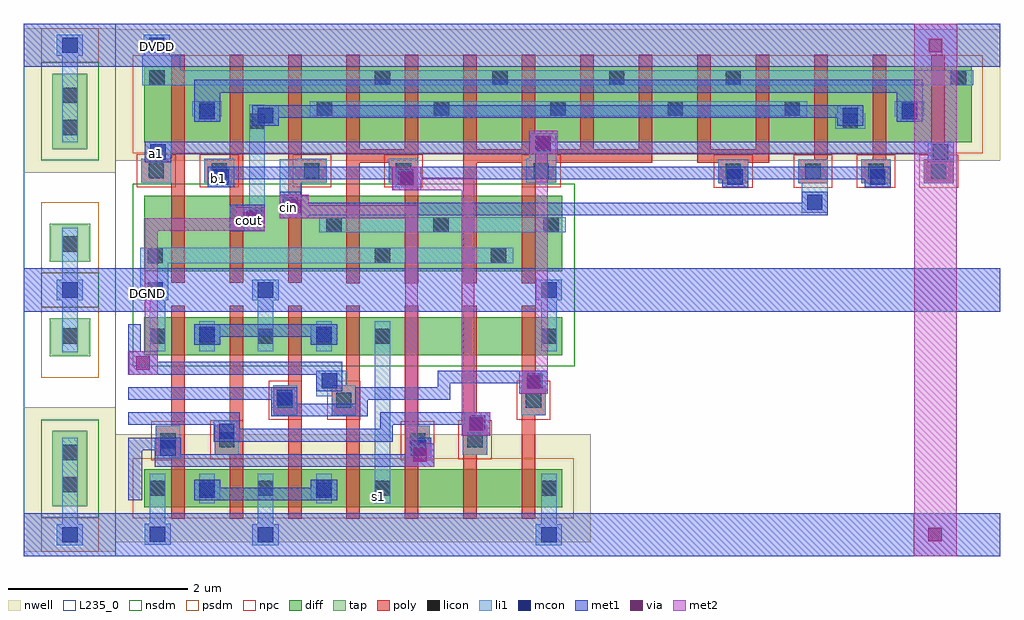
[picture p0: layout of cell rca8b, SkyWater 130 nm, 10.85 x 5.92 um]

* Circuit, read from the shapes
.subckt rca8b DGND DVDD a1 b1 cin cout s1
XM1 n1 cin DGND DGND sky130_fd_pr__nfet_01v8 w=0.42 l=0.15
XM2 n2 a1 DGND DGND sky130_fd_pr__nfet_01v8 w=0.84 l=0.15
XM3 DGND b1 n1 DGND sky130_fd_pr__nfet_01v8 w=0.42 l=0.15
XM4 cout b1 n2 DGND sky130_fd_pr__nfet_01v8 w=0.84 l=0.15
XM5 n1 a1 DGND DGND sky130_fd_pr__nfet_01v8 w=0.42 l=0.15
XM6 n3 cin cout DGND sky130_fd_pr__nfet_01v8 w=0.84 l=0.15
XM7 s1 cout n1 DGND sky130_fd_pr__nfet_01v8 w=0.42 l=0.15
XM8 DGND b1 n3 DGND sky130_fd_pr__nfet_01v8 w=0.84 l=0.15 m=2
XM9 n4 cin s1 DGND sky130_fd_pr__nfet_01v8 w=0.42 l=0.15
XM10 n5 b1 n4 DGND sky130_fd_pr__nfet_01v8 w=0.42 l=0.15
XM11 DGND a1 n3 DGND sky130_fd_pr__nfet_01v8 w=0.84 l=0.15 m=2
XM12 DGND a1 n5 DGND sky130_fd_pr__nfet_01v8 w=0.42 l=0.15
XM13 n6 cin DVDD DVDD sky130_fd_pr__pfet_01v8 w=0.42 l=0.15
XM14 n7 a1 DVDD DVDD sky130_fd_pr__pfet_01v8 w=0.84 l=0.15 m=2
XM15 DVDD b1 n6 DVDD sky130_fd_pr__pfet_01v8 w=0.42 l=0.15
XM16 cout b1 n7 DVDD sky130_fd_pr__pfet_01v8 w=0.84 l=0.15 m=2
XM17 n6 a1 DVDD DVDD sky130_fd_pr__pfet_01v8 w=0.42 l=0.15
XM18 n8 cin cout DVDD sky130_fd_pr__pfet_01v8 w=0.84 l=0.15 m=2
XM19 s1 cout n6 DVDD sky130_fd_pr__pfet_01v8 w=0.42 l=0.15
XM20 DVDD b1 n8 DVDD sky130_fd_pr__pfet_01v8 w=0.84 l=0.15 m=4
XM21 n9 cin s1 DVDD sky130_fd_pr__pfet_01v8 w=0.42 l=0.15
XM22 n10 b1 n9 DVDD sky130_fd_pr__pfet_01v8 w=0.42 l=0.15
XM23 DVDD a1 n8 DVDD sky130_fd_pr__pfet_01v8 w=0.84 l=0.15 m=4
XM24 DVDD a1 n10 DVDD sky130_fd_pr__pfet_01v8 w=0.42 l=0.15
.ends

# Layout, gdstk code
from math import pi, radians
import gdstk
lib = gdstk.Library(unit=1e-6, precision=1e-09)
def R(c, l, rs):  # rectangles x0, y0, x1, y1
    for r in rs: c.add(gdstk.rectangle(r[:2], r[2:], *l))
def A(c, l, x, y, w, h, nx, ny, dx, dy):  # array of equal rectangles
    R(c, l, [(x+i*dx, y+j*dy, x+i*dx+w, y+j*dy+h) for i in range(nx) for j in range(ny)])
nwell = (64, 20)
diff = (65, 20)
tap = (65, 44)
poly = (66, 20)
licon = (66, 44)
li1 = (67, 20)
mcon = (67, 44)
met1 = (68, 20)
via = (68, 44)
met2 = (69, 20)
nsdm = (93, 44)
psdm = (94, 20)
npc = (95, 20)
L235_0 = (235, 0)

vias_gen_6 = lib.new_cell('vias_gen$6')
R(vias_gen_6, li1, [(0,0,0.29,0.23)])
R(vias_gen_6, mcon, [(0.06,0.03,0.23,0.2)])
R(vias_gen_6, met1, [(0,0,0.29,0.23)])

vias_gen_7 = lib.new_cell('vias_gen$7')
R(vias_gen_7, met1, [(0,0,0.32,0.26)])
R(vias_gen_7, via, [(0.085,0.055,0.235,0.205)])
R(vias_gen_7, met2, [(0,0,0.32,0.26)])

tap_3 = lib.new_cell('tap$3')
R(tap_3, nwell, [(-1.455,0.92,-0.435,2.525)])
R(tap_3, tap, [(-1.17,-0.07,-0.72,0.35), (-1.14,1.18,-0.75,2.02)])
R(tap_3, licon, [(-1.03,0.04,-0.86,0.21), (-1.03,1.335,-0.86,1.505), (-1.03,1.695,-0.86,1.865)])
R(tap_3, li1, [(-1.03,-0.3,-0.86,-0.025), (-1.03,-0.025,-0.86,0.305), (-1.03,1.255,-0.86,1.945), (-1.03,1.945,-0.86,2.25)])
R(tap_3, met1, [(-1.455,-0.625,-0.435,-0.145), (-1.455,2.095,-0.435,2.575)])
R(tap_3, nsdm, [(-1.265,-0.575,-0.625,-0.195), (-1.265,1.055,-0.625,2.145)])
R(tap_3, psdm, [(-1.265,-0.195,-0.625,0.59), (-1.265,2.145,-0.625,2.525)])
R(tap_3, L235_0, [(-1.455,-0.625,-0.435,2.575)])
tap_3.add(gdstk.Reference(vias_gen_6, (-1.09,2.22)))
tap_3.add(gdstk.Reference(vias_gen_6, (-1.09,-0.5)))

vias_gen = lib.new_cell('vias_gen')

tap_ = lib.new_cell('tap')
R(tap_, nwell, [(-1.455,0.92,-0.435,2.525)])
R(tap_, tap, [(-1.17,-0.07,-0.72,0.35), (-1.14,1.18,-0.75,2.02)])
R(tap_, licon, [(-1.03,0.04,-0.86,0.21), (-1.03,1.335,-0.86,1.505), (-1.03,1.695,-0.86,1.865)])
R(tap_, li1, [(-1.03,-0.3,-0.86,-0.025), (-1.03,-0.025,-0.86,0.305), (-1.03,1.255,-0.86,1.945), (-1.03,1.945,-0.86,2.25)])
R(tap_, met1, [(-1.455,-0.625,-0.435,-0.145), (-1.455,2.095,-0.435,2.575)])
R(tap_, nsdm, [(-1.265,-0.575,-0.625,-0.195), (-1.265,1.055,-0.625,2.145)])
R(tap_, psdm, [(-1.265,-0.195,-0.625,0.59), (-1.265,2.145,-0.625,2.525)])
R(tap_, L235_0, [(-1.455,-0.625,-0.435,2.575)])
tap_.add(gdstk.Reference(vias_gen, (-1.09,-0.53)))
tap_.add(gdstk.Reference(vias_gen, (-1.09,2.22)))

nfet = lib.new_cell('nfet')

pfet = lib.new_cell('pfet')
R(pfet, nwell, [(-0.315,-0.14,9.515,1.325)])
R(pfet, diff, [(0,0.07,9.2,0.91)])
A(pfet, poly, 0.3, -0.2, 0.15, 1.24, 7, 1, 0.65, 0)
A(pfet, poly, 4.85, -0.155, 0.15, 1.195, 7, 1, 0.65, 0)
R(pfet, psdm, [(-0.125,-0.055,9.325,1.035)])

nfet_3 = lib.new_cell('nfet$3')
R(nfet_3, diff, [(0,0.085,4.65,0.925)])
A(nfet_3, poly, 2.25, -0.05, 0.15, 1.17, 4, 1, 0.65, 0)
A(nfet_3, poly, 0.3, -0.045, 0.15, 1.17, 3, 1, 0.65, 0)
R(nfet_3, nsdm, [(-0.11,-0.035,4.79,1.055)])

vias_gen_3 = lib.new_cell('vias_gen$3')
R(vias_gen_3, li1, [(0,0,0.29,0.23)])
R(vias_gen_3, mcon, [(0.06,0.03,0.23,0.2)])
R(vias_gen_3, met1, [(0,0,0.29,0.23)])

vias_gen_1 = lib.new_cell('vias_gen$1')
R(vias_gen_1, poly, [(0,0,0.33,0.27)])
R(vias_gen_1, licon, [(0.08,0.05,0.25,0.22)])
R(vias_gen_1, li1, [(0,0,0.33,0.27)])
R(vias_gen_1, npc, [(-0.05,-0.05,0.38,0.32)])

vias_gen_2 = lib.new_cell('vias_gen$2')

carry_n = lib.new_cell('carry_n')
A(carry_n, poly, -1.045, 0.905, 0.15, 0.16, 7, 1, 0.65, 0)
R(carry_n, licon, [(-1.305,-0.04,-1.135,0.13), (1.22,-0.04,1.39,0.13), (2.51,-0.04,2.68,0.13), (0.68,0.3,0.85,0.47), (1.87,0.3,2.04,0.47), (3.095,0.3,3.265,0.47), (-0.175,0.395,-0.005,0.565), (-0.175,1.45,-0.005,1.62), (6.42,1.45,6.59,1.62), (-0.73,1.59,-0.56,1.76), (0.575,1.59,0.745,1.76), (1.875,1.59,2.045,1.76), (3.17,1.59,3.34,1.76), (4.475,1.59,4.645,1.76), (5.775,1.59,5.945,1.76), (7.08,1.59,7.25,1.76), (-1.285,1.935,-1.115,2.105), (1.22,1.935,1.39,2.105), (2.525,1.935,2.695,2.105), (3.825,1.935,3.995,2.105), (5.12,1.935,5.29,2.105), (7.625,1.935,7.795,2.105)])
R(carry_n, li1, [(-1.385,-0.455,-1.075,-0.04), (0.165,0.5,0.395,1.115), (5.965,0.75,6.255,0.845), (-1.335,1.11,-1.045,1.115), (2.945,1.11,3.235,1.205), (7.365,1.11,7.655,1.115), (6.34,1.45,6.67,1.62), (-0.81,1.59,-0.48,1.76), (7,1.59,7.33,1.76), (-1.365,2.1,-0.945,2.265)])
R(carry_n, met1, [(-1.66,-0.58,8.17,-0.1), (-0.79,1.76,-0.5,1.855), (7.02,1.76,7.31,1.855), (-1.66,2.14,8.17,2.62)])
carry_n.add(gdstk.FlexPath([(-1.365,2.02),(7.875,2.02)], 0.17, ends="flush", simple_path=True, layer=67, datatype=20))  # li1
carry_n.add(gdstk.FlexPath([(3.345,0.385),(0.6,0.385)], 0.17, ends="flush", simple_path=True, layer=67, datatype=20))  # li1
carry_n.add(gdstk.FlexPath([(2.76,0.045),(-1.385,0.045)], 0.17, ends="flush", simple_path=True, layer=67, datatype=20))  # li1
carry_n.add(gdstk.FlexPath([(0.495,1.675),(6.025,1.675)], 0.17, ends="flush", simple_path=True, layer=67, datatype=20))  # li1
carry_n.add(gdstk.FlexPath([(-0.09,1.72),(-0.09,0.315)], 0.17, ends="flush", simple_path=True, layer=67, datatype=20))  # li1
carry_n.add(gdstk.FlexPath([(-1.22,-0.255),(-1.22,-0.075)], 0.17, ends="flush", simple_path=True, layer=67, datatype=20))  # li1
carry_n.add(gdstk.FlexPath([(0.395,0.56),(5.965,0.56)], 0.14, ends="flush", simple_path=True, layer=68, datatype=20))  # met1
carry_n.add(gdstk.FlexPath([(-0.79,1.925),(7.31,1.925)], 0.14, ends="flush", simple_path=True, layer=68, datatype=20))  # met1
carry_n.add(gdstk.FlexPath([(0.15,1.645),(6.36,1.645)], 0.14, ends="flush", simple_path=True, layer=68, datatype=20))  # met1
carry_n.add(gdstk.FlexPath([(-1.045,1.24),(7.365,1.24)], 0.14, ends="flush", simple_path=True, layer=68, datatype=20))  # met1
carry_n.add(gdstk.FlexPath([(-0.345,0.96),(6.665,0.96)], 0.14, ends="flush", simple_path=True, layer=68, datatype=20))  # met1
carry_n.add(gdstk.FlexPath([(4.805,1.15),(5.605,1.15)], 0.15, ends="flush", simple_path=True, layer=66, datatype=20))  # poly
carry_n.add(gdstk.FlexPath([(2.205,1.15),(4.305,1.15)], 0.15, ends="flush", simple_path=True, layer=66, datatype=20))  # poly
carry_n.add(gdstk.FlexPath([(0.905,1.15),(1.705,1.15)], 0.15, ends="flush", simple_path=True, layer=66, datatype=20))  # poly
carry_n.add(gdstk.Reference(tap_, (-1.225,0.045)))
carry_n.add(gdstk.Reference(nfet, (-1.345,-0.035)))
carry_n.add(gdstk.Reference(pfet, (-1.345,1.235)))
carry_n.add(gdstk.Reference(nfet_3, (-1.345,-0.215)))
carry_n.add(gdstk.Reference(vias_gen_3, (-0.79,1.53)))
carry_n.add(gdstk.Reference(vias_gen_3, (-0.14,1.485)))
carry_n.add(gdstk.Reference(vias_gen_3, (6.36,1.485)))
carry_n.add(gdstk.Reference(vias_gen_3, (7.02,1.53)))
carry_n.add(gdstk.Reference(vias_gen_1, (6.625,0.845)))
carry_n.add(gdstk.Reference(vias_gen_3, (-1.35,2.265)))
carry_n.add(gdstk.Reference(vias_gen_3, (-1.335,1.08)))
carry_n.add(gdstk.Reference(vias_gen_3, (2.945,1.17)))
carry_n.add(gdstk.Reference(vias_gen_2, (0.395,0.605)))
carry_n.add(gdstk.Reference(vias_gen_3, (7.365,1.08)))
carry_n.add(gdstk.Reference(vias_gen_3, (-0.635,0.8)))
carry_n.add(gdstk.Reference(vias_gen_3, (1.415,0.8)))
carry_n.add(gdstk.Reference(vias_gen_3, (5.08,0.8)))
carry_n.add(gdstk.Reference(vias_gen_3, (6.665,0.8)))
carry_n.add(gdstk.Reference(vias_gen_3, (5.965,0.52)))
carry_n.add(gdstk.Reference(vias_gen_3, (0.395,0.46), rotation=pi/2))
carry_n.add(gdstk.Reference(vias_gen_3, (-0.005,0.315), rotation=pi/2))
carry_n.add(gdstk.Reference(vias_gen_3, (-1.365,-0.455)))
carry_n.add(gdstk.Reference(vias_gen_1, (7.325,0.845)))
carry_n.add(gdstk.Reference(vias_gen_1, (5.925,0.845)))
carry_n.add(gdstk.Reference(vias_gen_1, (5.04,0.845)))
carry_n.add(gdstk.Reference(vias_gen_1, (2.905,0.85)))
carry_n.add(gdstk.Reference(vias_gen_1, (0.355,0.85)))
carry_n.add(gdstk.Reference(vias_gen_1, (-0.675,0.85)))
carry_n.add(gdstk.Reference(vias_gen_1, (-1.375,0.85)))
carry_n.add(gdstk.Reference(vias_gen_1, (1.375,0.85)))

nfet_1 = lib.new_cell('nfet$1')
R(nfet_1, diff, [(0,0,4.65,0.42)])
A(nfet_1, poly, 0.3, -0.13, 0.15, 0.75, 7, 1, 0.65, 0)
A(nfet_1, licon, 0.615, 0.125, 0.17, 0.17, 4, 1, 0.65, 0)
R(nfet_1, licon, [(0.065,0.125,0.235,0.295), (4.415,0.125,4.585,0.295)])
A(nfet_1, li1, 0.615, 0.045, 0.17, 0.33, 4, 1, 0.65, 0)
R(nfet_1, li1, [(0.065,0.045,0.235,0.375), (4.415,0.045,4.585,0.375)])
R(nfet_1, nsdm, [(-0.125,-0.125,4.775,0.545)])

vias_gen_5 = lib.new_cell('vias_gen$5')

tap_1 = lib.new_cell('tap$1')
tap_1.add(gdstk.Reference(vias_gen_5, (-1.09,-0.53)))
tap_1.add(gdstk.Reference(vias_gen_5, (-1.09,2.22)))

vias_gen_1_1 = lib.new_cell('vias_gen$1$1')

vias_gen_2_1 = lib.new_cell('vias_gen$2$1')
R(vias_gen_2_1, poly, [(0,0,0.33,0.27)])
R(vias_gen_2_1, licon, [(0.08,0.05,0.25,0.22)])
R(vias_gen_2_1, li1, [(0,0,0.33,0.27)])
R(vias_gen_2_1, npc, [(-0.05,-0.05,0.38,0.32)])

vias_gen_3_1 = lib.new_cell('vias_gen$3$1')
R(vias_gen_3_1, li1, [(0,0,0.29,0.23)])
R(vias_gen_3_1, mcon, [(0.06,0.03,0.23,0.2)])
R(vias_gen_3_1, met1, [(0,0,0.29,0.23)])

vias_gen_4 = lib.new_cell('vias_gen$4')
R(vias_gen_4, li1, [(0,0,0.29,0.23)])
R(vias_gen_4, mcon, [(0.06,0.03,0.23,0.2)])
R(vias_gen_4, met1, [(0,0,0.29,0.23)])

pfet_1 = lib.new_cell('pfet$1')
R(pfet_1, nwell, [(-0.315,-0.39,4.965,0.81)])
R(pfet_1, diff, [(0,0,4.65,0.42)])
A(pfet_1, poly, 0.3, -0.2, 0.15, 0.75, 7, 1, 0.65, 0)
A(pfet_1, licon, 0.615, 0.125, 0.17, 0.17, 4, 1, 0.65, 0)
R(pfet_1, licon, [(0.065,0.125,0.235,0.295), (4.415,0.125,4.585,0.295)])
A(pfet_1, li1, 0.615, 0.045, 0.17, 0.33, 4, 1, 0.65, 0)
R(pfet_1, li1, [(0.065,0.045,0.235,0.375), (4.415,0.045,4.585,0.375)])
R(pfet_1, psdm, [(-0.125,-0.125,4.775,0.545)])

vias_gen_5_1 = lib.new_cell('vias_gen$5$1')

sum_n = lib.new_cell('sum_n')
R(sum_n, li1, [(-1.645,0.27,-1.605,0.435), (-1.935,0.5,-1.765,0.555)])
R(sum_n, met1, [(-4.165,-0.865,1.115,-0.385), (-4.025,-0.245,-3.885,0.175), (-4.025,1.155,-3.87,1.715), (-4.165,1.855,1.115,2.335)])
sum_n.add(gdstk.FlexPath([(-3.7,-0.27),(-3.7,-0.51)], 0.17, ends="flush", simple_path=True, layer=67, datatype=20))  # li1
sum_n.add(gdstk.FlexPath([(-2.5,1.745),(-2.5,1.98)], 0.17, ends="flush", simple_path=True, layer=67, datatype=20))  # li1
sum_n.add(gdstk.FlexPath([(-3.7,1.74),(-3.7,1.975)], 0.17, ends="flush", simple_path=True, layer=67, datatype=20))  # li1
sum_n.add(gdstk.FlexPath([(0.65,1.745),(0.65,1.98)], 0.17, ends="flush", simple_path=True, layer=67, datatype=20))  # li1
sum_n.add(gdstk.FlexPath([(-1.2,1.415),(-1.2,0.055)], 0.17, ends="flush", simple_path=True, layer=67, datatype=20))  # li1
sum_n.add(gdstk.FlexPath([(-2.5,-0.275),(-2.5,-0.51)], 0.17, ends="flush", simple_path=True, layer=67, datatype=20))  # li1
sum_n.add(gdstk.FlexPath([(0.65,-0.275),(0.65,-0.51)], 0.17, ends="flush", simple_path=True, layer=67, datatype=20))  # li1
sum_n.add(gdstk.FlexPath([(-2.785,0.805),(-4.025,0.805)], 0.14, ends="flush", simple_path=True, layer=68, datatype=20))  # met1
sum_n.add(gdstk.FlexPath([(-2.435,0.525),(-4.025,0.525)], 0.14, ends="flush", simple_path=True, layer=68, datatype=20))  # met1
sum_n.add(gdstk.FlexPath([(-3.73,1.085),(-4.025,1.085)], 0.14, ends="flush", simple_path=True, layer=68, datatype=20))  # met1
sum_n.add(gdstk.FlexPath([(-1.645,0.245),(-4.025,0.245)], 0.14, ends="flush", simple_path=True, layer=68, datatype=20))  # met1
sum_n.add(gdstk.FlexPath([(-3.005,-0.175),(-1.995,-0.175)], 0.14, ends="flush", simple_path=True, layer=68, datatype=20))  # met1
sum_n.add(gdstk.FlexPath([(-3.005,1.645),(-1.995,1.645)], 0.14, ends="flush", simple_path=True, layer=68, datatype=20))  # met1
sum_n.add(gdstk.FlexPath([(-3.73,1.27),(-0.655,1.27)], 0.14, ends="flush", simple_path=True, layer=68, datatype=20))  # met1
sum_n.add(gdstk.FlexPath([(-1.085,0.805),(-0.29,0.805)], 0.14, ends="flush", simple_path=True, layer=68, datatype=20))  # met1
sum_n.add(gdstk.FlexPath([(-1.155,0.735),(-1.155,1.06)], 0.14, ends="flush", simple_path=True, layer=68, datatype=20))  # met1
sum_n.add(gdstk.FlexPath([(-1.225,0.99),(-2.785,0.99)], 0.14, ends="flush", simple_path=True, layer=68, datatype=20))  # met1
sum_n.add(gdstk.FlexPath([(-0.445,0.34),(0.35,0.34)], 0.14, ends="flush", simple_path=True, layer=68, datatype=20))  # met1
sum_n.add(gdstk.FlexPath([(-0.515,0.27),(-0.515,0.595)], 0.14, ends="flush", simple_path=True, layer=68, datatype=20))  # met1
sum_n.add(gdstk.FlexPath([(-0.585,0.525),(-1.365,0.525)], 0.14, ends="flush", simple_path=True, layer=68, datatype=20))  # met1
sum_n.add(gdstk.FlexPath([(-1.435,0.455),(-1.435,0.71),(-2.435,0.71)], 0.14, ends="flush", simple_path=True, layer=68, datatype=20))  # met1
sum_n.add(gdstk.FlexPath([(0.425,0.3),(0.425,1.17)], 0.15, ends="flush", simple_path=True, layer=66, datatype=20))  # poly
sum_n.add(gdstk.FlexPath([(-0.225,0.3),(-0.225,1.17)], 0.15, ends="flush", simple_path=True, layer=66, datatype=20))  # poly
sum_n.add(gdstk.FlexPath([(-0.875,0.3),(-0.875,1.17)], 0.15, ends="flush", simple_path=True, layer=66, datatype=20))  # poly
sum_n.add(gdstk.FlexPath([(-1.525,0.3),(-1.525,1.17)], 0.15, ends="flush", simple_path=True, layer=66, datatype=20))  # poly
sum_n.add(gdstk.FlexPath([(-2.175,0.3),(-2.175,1.17)], 0.15, ends="flush", simple_path=True, layer=66, datatype=20))  # poly
sum_n.add(gdstk.FlexPath([(-2.825,0.3),(-2.825,1.17)], 0.15, ends="flush", simple_path=True, layer=66, datatype=20))  # poly
sum_n.add(gdstk.FlexPath([(-3.475,0.3),(-3.475,1.17)], 0.15, ends="flush", simple_path=True, layer=66, datatype=20))  # poly
sum_n.add(gdstk.Reference(nfet_1, (-3.85,-0.32)))
sum_n.add(gdstk.Reference(tap_1, (2.57,-0.24)))
sum_n.add(gdstk.Reference(vias_gen_1_1, (-2.645,-0.74)))
sum_n.add(gdstk.Reference(vias_gen_1_1, (-3.845,-0.735)))
sum_n.add(gdstk.Reference(vias_gen_2_1, (-3.45,0.885), rotation=pi/2))
sum_n.add(gdstk.Reference(vias_gen_2_1, (-2.795,0.875), rotation=pi/2))
sum_n.add(gdstk.Reference(vias_gen_2_1, (-2.145,0.435), rotation=pi/2))
sum_n.add(gdstk.Reference(vias_gen_3_1, (0.505,-0.74)))
sum_n.add(gdstk.Reference(vias_gen_2_1, (-0.675,0.885), rotation=pi/2))
sum_n.add(gdstk.Reference(vias_gen_2_1, (-1.495,0.435), rotation=pi/2))
sum_n.add(gdstk.Reference(vias_gen_4, (-3.73,1.015)))
sum_n.add(gdstk.Reference(vias_gen_2_1, (0.615,0.435), rotation=pi/2))
sum_n.add(gdstk.Reference(vias_gen_4, (-2.645,2.21), x_reflection=True))
sum_n.add(gdstk.Reference(vias_gen_4, (-0.945,1.015)))
sum_n.add(gdstk.Reference(vias_gen_2_1, (-0.035,0.875), rotation=pi/2))
sum_n.add(gdstk.Reference(vias_gen_3_1, (-3.295,-0.245)))
sum_n.add(gdstk.Reference(vias_gen_4, (-3.075,0.83)))
sum_n.add(gdstk.Reference(vias_gen_4, (-0.29,0.735)))
sum_n.add(gdstk.Reference(pfet_1, (-3.85,1.37)))
sum_n.add(gdstk.Reference(vias_gen_4, (-3.845,2.205), x_reflection=True))
sum_n.add(gdstk.Reference(vias_gen_4, (0.505,2.21), x_reflection=True))
sum_n.add(gdstk.Reference(vias_gen_4, (-1.995,-0.245)))
sum_n.add(gdstk.Reference(vias_gen_4, (-3.295,1.715), x_reflection=True))
sum_n.add(gdstk.Reference(vias_gen_4, (-1.995,1.715), x_reflection=True))
sum_n.add(gdstk.Reference(vias_gen_4, (-2.435,0.455)))
sum_n.add(gdstk.Reference(vias_gen_4, (0.35,0.27)))
sum_n.add(gdstk.Reference(vias_gen_4, (-1.935,0.27)))
sum_n.add(gdstk.Reference(vias_gen_5_1, (-1.345,-0.245)))

vias_gen_8 = lib.new_cell('vias_gen$8')
R(vias_gen_8, met1, [(0,0,0.48,0.48)])
R(vias_gen_8, via, [(0.165,0.165,0.315,0.315)])
R(vias_gen_8, met2, [(0,0,0.48,0.48)])

rca8b = lib.new_cell('rca8b')
R(rca8b, met1, [(2.525,-3.235,7.075,-2.755), (-1.49,0.38,-1.1,0.67), (4.87,0.555,5.16,0.585)])
R(rca8b, met2, [(6.12,-2.755,6.595,2.205)])
R(rca8b, nsdm, [(-2.565,-1.125,2.35,0.905)])
rca8b.add(gdstk.FlexPath([(-1.42,0.455),(-2.36,0.455),(-2.36,-0.955)], 0.14, ends="flush", simple_path=True, layer=69, datatype=20))  # met2
rca8b.add(gdstk.FlexPath([(1.98,-1.17),(1.98,1.235),(1.98,1.235)], 0.14, ends="flush", simple_path=True, layer=69, datatype=20))  # met2
rca8b.add(gdstk.FlexPath([(1.16,-1.635),(1.16,0.905),(0.64,0.905)], 0.14, ends="flush", simple_path=True, layer=69, datatype=20))  # met2
rca8b.add(gdstk.FlexPath([(0.535,-1.98),(0.535,0.595),(-0.61,0.595)], 0.14, ends="flush", simple_path=True, layer=69, datatype=20))  # met2
rca8b.add(gdstk.Reference(vias_gen_6, (-1.235,-0.39)))
rca8b.add(gdstk.Reference(vias_gen_7, (1.73,-1.43)))
rca8b.add(gdstk.Reference(vias_gen_7, (1.09,-1.895)))
rca8b.add(gdstk.Reference(vias_gen_7, (-0.93,0.525)))
rca8b.add(gdstk.Reference(tap_3, (-2.32,-0.66), x_reflection=True))
rca8b.add(gdstk.Reference(vias_gen_7, (0.465,-2.24)))
rca8b.add(gdstk.Reference(vias_gen_7, (-1.42,0.385)))
rca8b.add(gdstk.Reference(vias_gen_7, (0.32,0.835)))
rca8b.add(gdstk.Reference(vias_gen_7, (1.84,1.235)))
rca8b.add(gdstk.Reference(carry_n, (-1.095,0.065)))
rca8b.add(gdstk.Reference(sum_n, (1.41,-0.9), x_reflection=True))
rca8b.add(gdstk.Reference(vias_gen_7, (-2.61,-1.215)))
rca8b.add(gdstk.Reference(vias_gen_8, (6.6,2.205), rotation=pi/2))
rca8b.add(gdstk.Reference(vias_gen_8, (6.595,-3.235), rotation=pi/2))
rca8b.add(gdstk.Reference(vias_gen_6, (-3.41,2.33)))
rca8b.add(gdstk.Label('cout', (-1.27,0.5), layer=68, texttype=5))
rca8b.add(gdstk.Label('DVDD', (-2.295,2.435), layer=68, texttype=5))
rca8b.add(gdstk.Label('DGND', (-2.4,-0.31), layer=68, texttype=5))
rca8b.add(gdstk.Label('a1', (-2.3,1.245), layer=68, texttype=5))
rca8b.add(gdstk.Label('b1', (-1.61,0.965), layer=68, texttype=5))
rca8b.add(gdstk.Label('cin', (-0.84,0.64), layer=68, texttype=5))
rca8b.add(gdstk.Label('s1', (0.165,-2.575), layer=67, texttype=5))

lib.write_gds('rca8b.gds')
